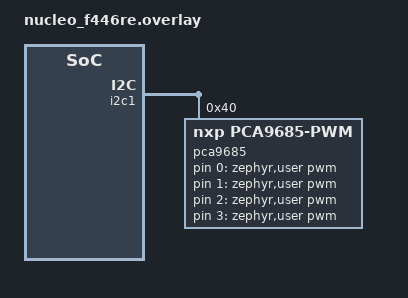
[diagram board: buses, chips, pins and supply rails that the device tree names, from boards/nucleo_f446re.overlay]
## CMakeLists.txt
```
#-------------------------------------------------------------------------------
# Zephyr Example Application
#
# Copyright (c) 2021 Nordic Semiconductor ASA
# SPDX-License-Identifier: Apache-2.0

cmake_minimum_required(VERSION 3.13.1)

list(APPEND DTS_ROOT ${CMAKE_CURRENT_SOURCE_DIR})

find_package(Zephyr REQUIRED HINTS $ENV{ZEPHYR_BASE})

project(WhackAMole)

target_sources(app PRIVATE src/main.cpp)
```

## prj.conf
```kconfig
CONFIG_CPP=y
CONFIG_STD_CPP17=y
CONFIG_GPIO=y
CONFIG_PWM=y

CONFIG_I2C=y
```

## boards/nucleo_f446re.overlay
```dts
#include <zephyr/dt-bindings/pwm/pwm.h>

/ { 
    zephyr,user{
        pwms =  <&pca9685 0 PWM_MSEC(20) PWM_POLARITY_NORMAL>,
                <&pca9685 1 PWM_MSEC(20) PWM_POLARITY_NORMAL>,
                <&pca9685 2 PWM_MSEC(20) PWM_POLARITY_NORMAL>,
                <&pca9685 3 PWM_MSEC(20) PWM_POLARITY_NORMAL>;
    };
};

&i2c1 {
    pca9685:pca9685@40 {
    compatible = "nxp,pca9685-pwm";
    reg = <0x40>;
    #pwm-cells = <3>;
    status = "okay";
    };
};
```

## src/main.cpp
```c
#include <zephyr/kernel.h>
#include <zephyr/drivers/gpio.h>
#include <zephyr/drivers/pwm.h>


#define SLEEP_TIME_MS   250

#define angle 0

#define LED0_NODE DT_ALIAS(led0)

static const struct gpio_dt_spec led = GPIO_DT_SPEC_GET(LED0_NODE, gpios);
static const struct pwm_dt_spec servo_pwm = PWM_DT_SPEC_GET_BY_IDX(DT_PATH(zephyr_user),0);

int main() {
    int ret;

    if(!gpio_is_ready_dt(&led)) {
        return 0;
    }
    if (!pwm_is_ready_dt(&servo_pwm)) {
        return 0;
    }
    ret = gpio_pin_configure_dt(&led , GPIO_OUTPUT_ACTIVE);
    if(ret < 0) {
        return 0;
    }
    uint32_t pulse_ns = 500000 + (angle / 180) * (2500000 - 500000);

    pwm_set_pulse_dt(&servo_pwm, pulse_ns);
    while(1) {
        ret = gpio_pin_toggle_dt(&led);
        if(ret < 0) {
            return 0;
        }
        k_msleep(SLEEP_TIME_MS);
    }

    return 0;
}
```
